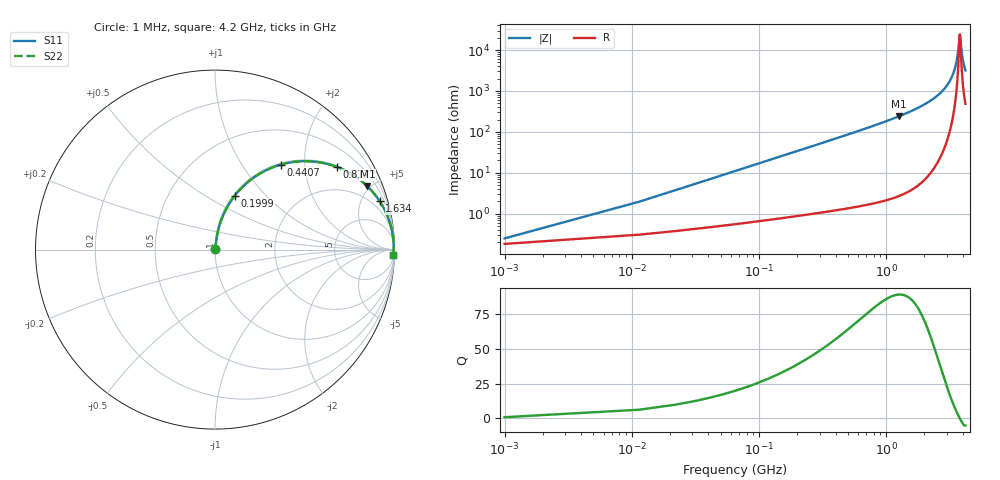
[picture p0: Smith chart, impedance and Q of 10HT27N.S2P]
! Coilcraft 1008HT-27N Chip Inductor
! 16 July 2002
# MHZ S MA R 50
!Freq  MagS11  AngS11  MagS21  AngS21  MagS12  AngS12  MagS22  AngS22
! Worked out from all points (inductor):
!   403 points, 1 MHz to 4.2 GHz, reference 50 ohm
!   read as one part in series: L = 27 nH near 21.94 MHz
!   highest Q = 89.1 at 1.257 GHz (marker M1), where L = 30.3 nH
!   self-resonance near 3.791 GHz
!   S11 on the Smith chart (normalised r, x): 1 MHz: 1.00, +0.00; 199.9 MHz: 1.02, +0.68; 440.7 MHz: 1.03, +1.52; 817.7 MHz: 1.04, +2.91; 1.634 GHz: 1.08, +6.80; 4.2 GHz: 11, -63
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1  0.002487 42.8  0.9982 -0.1  0.9982 -0.1  0.002487 42.8
32.41  0.05484 82.4  0.9942 -3.1  0.9942 -3.1  0.05484 82.4
53.35  0.08984 81.6  0.9909 -5.1  0.9909 -5.1  0.08984 81.6
105.7  0.1756 77.8  0.9779 -10.1  0.9779 -10.1  0.1756 77.8
199.93  0.3196 69.9  0.9394 -18.6  0.9394 -18.6  0.3196 69.9
304.63  0.4577 61.6  0.8798 -27.2  0.8798 -27.2  0.4577 61.6
440.74  0.5993 52.2  0.7906 -36.8  0.7906 -36.8  0.5993 52.2
702.49  0.7719 38.7  0.6255 -50.5  0.6255 -50.5  0.7719 38.7
817.66  0.8193 34.3  0.5632 -55.0  0.5632 -55.0  0.8193 34.3
1257.4  0.9192 22.6  0.3837 -66.8  0.3837 -66.8  0.9192 22.6
1403.98  0.9367 19.8  0.3396 -69.5  0.3396 -69.5  0.9367 19.8
1634.32  0.9563 16.3  0.2811 -73.0  0.2811 -73.0  0.9563 16.3
2105.47  0.9789 10.9  0.1899 -78.2  0.1899 -78.2  0.9789 10.9
2806.96  0.9925 5.4  0.09471 -82.7  0.09471 -82.7  0.9925 5.4
3225.76  0.9953 2.9  0.05091 -83.2  0.05091 -83.2  0.9953 2.9
3508.45  0.996 1.4  0.02496 -80.0  0.02496 -80.0  0.996 1.4
3644.56  0.996 0.7  0.01348 -72.4  0.01348 -72.4  0.996 0.7
3770.2  0.9959 0.1  0.004755 -30.6  0.004755 -30.6  0.9959 0.1
3801.61  0.9959 -0.0  0.004136 1.9  0.004136 1.9  0.9959 -0.0
3979.6  0.9955 -0.8  0.01493 72.0  0.01493 72.0  0.9955 -0.8
4073.83  0.9952 -1.2  0.02197 76.8  0.02197 76.8  0.9952 -1.2
4200  0.9948 -1.8  0.03129 79.5  0.03129 79.5  0.9948 -1.8
